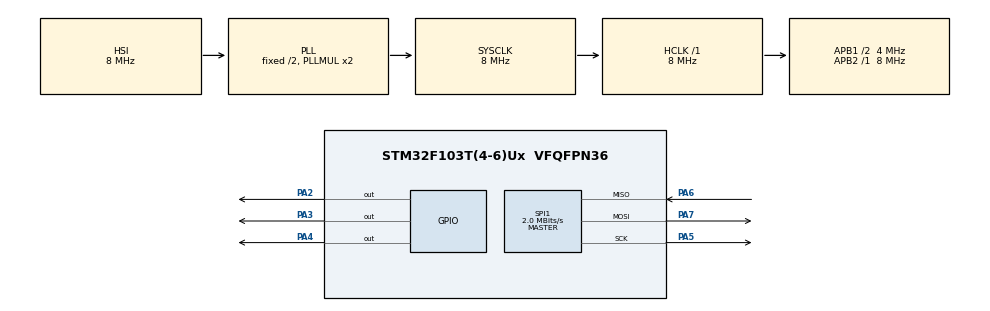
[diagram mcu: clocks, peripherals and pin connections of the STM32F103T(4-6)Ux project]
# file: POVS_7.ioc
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Mcu.Family=STM32F1
Mcu.Name=STM32F103T(4-6)Ux
Mcu.Package=VFQFPN36
NVIC.PriorityGroup=NVIC_PRIORITYGROUP_4
NVIC.SPI1_IRQn=true\:0\:0\:false\:false\:true\:true\:true
PA2.Signal=GPIO_Output
PA3.Signal=GPIO_Output
PA4.Signal=GPIO_Output
PA5.Mode=Full_Duplex_Master
PA5.Signal=SPI1_SCK
PA6.Mode=Full_Duplex_Master
PA6.Signal=SPI1_MISO
PA7.Mode=Full_Duplex_Master
PA7.Signal=SPI1_MOSI
ProjectManager.HeapSize=0x200
ProjectManager.StackSize=0x400
ProjectManager.TargetToolchain=MDK-ARM V5
RCC.AHBFreq_Value=8000000
RCC.APB1CLKDivider=RCC_HCLK_DIV2
RCC.APB1Freq_Value=4000000
RCC.APB1TimFreq_Value=8000000
RCC.APB2Freq_Value=8000000
RCC.APB2TimFreq_Value=8000000
RCC.HCLKFreq_Value=8000000
RCC.SYSCLKFreq_VALUE=8000000
RCC.SYSCLKSource=RCC_SYSCLKSOURCE_PLLCLK
RCC.USBFreq_Value=8000000
SPI1.BaudRatePrescaler=SPI_BAUDRATEPRESCALER_4
SPI1.CalculateBaudRate=2.0 MBits/s
SPI1.Direction=SPI_DIRECTION_2LINES
SPI1.Mode=SPI_MODE_MASTER
SPI1.VirtualType=VM_MASTER
VP_SYS_VS_ND.Mode=No_Debug
board=custom

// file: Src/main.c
/* USER CODE BEGIN Header */
/**
  ******************************************************************************
  * @file           : main.c
  * @brief          : Main program body
  ******************************************************************************
  * @attention
  *
  * <h2><center>&copy; Copyright (c) 2019 STMicroelectronics.
  * All rights reserved.</center></h2>
  *
  * This software component is licensed by ST under BSD 3-Clause license,
  * the "License"; You may not use this file except in compliance with the
  * License. You may obtain a copy of the License at:
  *                        opensource.org/licenses/BSD-3-Clause
  *
  ******************************************************************************
  */
/* USER CODE END Header */

#include "main.h"

/* USER CODE BEGIN Includes */
#include "fonts.h"
#include <string.h>
#include <stdarg.h>
/* USER CODE END Includes */

/* USER CODE BEGIN PTD */
#ifndef __ILI9341_H__
#define __ILI9341_H__

#include "fonts.h"
#include <stdbool.h>

#define ILI9341_MADCTL_MY  0x80
#define ILI9341_MADCTL_MX  0x40
#define ILI9341_MADCTL_MV  0x20
#define ILI9341_MADCTL_ML  0x10
#define ILI9341_MADCTL_RGB 0x00
#define ILI9341_MADCTL_BGR 0x08
#define ILI9341_MADCTL_MH  0x04

/*** Redefine if necessary ***/
#define ILI9341_SPI_PORT hspi1

#define ILI9341_RES_Pin       GPIO_PIN_2
#define ILI9341_RES_GPIO_Port GPIOA
#define ILI9341_CS_Pin        GPIO_PIN_4
#define ILI9341_CS_GPIO_Port  GPIOA
#define ILI9341_DC_Pin        GPIO_PIN_3
#define ILI9341_DC_GPIO_Port  GPIOA

// default orientation
#define ILI9341_WIDTH  240
#define ILI9341_HEIGHT 320
#define ILI9341_ROTATION (ILI9341_MADCTL_MX | ILI9341_MADCTL_BGR)

#define	ILI9341_BLACK   0x0000
#define	ILI9341_BLUE    0x001F
#define	ILI9341_RED     0xF800
#define	ILI9341_GREEN   0x07E0
#define ILI9341_CYAN    0x07FF
#define ILI9341_MAGENTA 0xF81F
#define ILI9341_YELLOW  0xFFE0
#define ILI9341_WHITE   0xFFFF
#define ILI9341_COLOR565(r, g, b) (((r & 0xF8) << 8) | ((g & 0xFC) << 3) | ((b & 0xF8) >> 3))

// call before initializing any SPI devices

void ILI9341_Init(void);
void ILI9341_DrawPixel(uint16_t x, uint16_t y, uint16_t color);
void ILI9341_WriteString(uint16_t x, uint16_t y, const char* str, FontDef font, uint16_t color, uint16_t bgcolor);
void ILI9341_FillRectangle(uint16_t x, uint16_t y, uint16_t w, uint16_t h, uint16_t color);
void ILI9341_FillScreen(uint16_t color);
void ILI9341_DrawImage(uint16_t x, uint16_t y, uint16_t w, uint16_t h, const uint16_t* data);
void ILI9341_InvertColors(bool invert);

#endif // __ILI9341_H__

/* USER CODE END PTD */

SPI_HandleTypeDef hspi1;

void SystemClock_Config(void);
static void MX_GPIO_Init(void);
static void MX_SPI1_Init(void);

/* USER CODE BEGIN 0 */
static void ILI9341_Select() {
    HAL_GPIO_WritePin(ILI9341_CS_GPIO_Port, ILI9341_CS_Pin, GPIO_PIN_RESET);
}

void ILI9341_Unselect() {
    HAL_GPIO_WritePin(ILI9341_CS_GPIO_Port, ILI9341_CS_Pin, GPIO_PIN_SET);
}

static void ILI9341_Reset() {
    HAL_GPIO_WritePin(ILI9341_RES_GPIO_Port, ILI9341_RES_Pin, GPIO_PIN_RESET);
    HAL_Delay(5);
    HAL_GPIO_WritePin(ILI9341_RES_GPIO_Port, ILI9341_RES_Pin, GPIO_PIN_SET);
}

static void ILI9341_WriteCommand(uint8_t cmd) {
    HAL_GPIO_WritePin(ILI9341_DC_GPIO_Port, ILI9341_DC_Pin, GPIO_PIN_RESET);
    HAL_SPI_Transmit(&ILI9341_SPI_PORT, &cmd, sizeof(cmd), HAL_MAX_DELAY);
}

static void ILI9341_WriteData(uint8_t* buff, size_t buff_size) {
    HAL_GPIO_WritePin(ILI9341_DC_GPIO_Port, ILI9341_DC_Pin, GPIO_PIN_SET);

    // split data in small chunks because HAL can't send more then 64K at once
    while(buff_size > 0) {
        uint16_t chunk_size = buff_size > 32768 ? 32768 : buff_size;
        HAL_SPI_Transmit(&ILI9341_SPI_PORT, buff, chunk_size, HAL_MAX_DELAY);
        buff += chunk_size;
        buff_size -= chunk_size;
    }
}

static void ILI9341_SetAddressWindow(uint16_t x0, uint16_t y0, uint16_t x1, uint16_t y1) {
    // column address set
    ILI9341_WriteCommand(0x2A); // CASET
    {
        uint8_t data[] = { (x0 >> 8) & 0xFF, x0 & 0xFF, (x1 >> 8) & 0xFF, x1 & 0xFF };
        ILI9341_WriteData(data, sizeof(data));
    }

    // row address set
    ILI9341_WriteCommand(0x2B); // RASET
    {
        uint8_t data[] = { (y0 >> 8) & 0xFF, y0 & 0xFF, (y1 >> 8) & 0xFF, y1 & 0xFF };
        ILI9341_WriteData(data, sizeof(data));
    }

    // write to RAM
    ILI9341_WriteCommand(0x2C); // RAMWR
}

void ILI9341_Init() {
    ILI9341_Select();
    ILI9341_Reset();

    // command list is based on https://github.com/martnak/STM32-ILI9341

    // SOFTWARE RESET
    ILI9341_WriteCommand(0x01);
    HAL_Delay(1000);

    // POWER CONTROL A
    ILI9341_WriteCommand(0xCB);
    {
        uint8_t data[] = { 0x39, 0x2C, 0x00, 0x34, 0x02 };
        ILI9341_WriteData(data, sizeof(data));
    }

    // POWER CONTROL B
    ILI9341_WriteCommand(0xCF);
    {
        uint8_t data[] = { 0x00, 0xC1, 0x30 };
        ILI9341_WriteData(data, sizeof(data));
    }

    // DRIVER TIMING CONTROL A
    ILI9341_WriteCommand(0xE8);
    {
        uint8_t data[] = { 0x85, 0x00, 0x78 };
        ILI9341_WriteData(data, sizeof(data));
    }

    // DRIVER TIMING CONTROL B
    ILI9341_WriteCommand(0xEA);
    {
        uint8_t data[] = { 0x00, 0x00 };
        ILI9341_WriteData(data, sizeof(data));
    }

    // POWER ON SEQUENCE CONTROL
    ILI9341_WriteCommand(0xED);
    {
        uint8_t data[] = { 0x64, 0x03, 0x12, 0x81 };
        ILI9341_WriteData(data, sizeof(data));
    }

    // PUMP RATIO CONTROL
    ILI9341_WriteCommand(0xF7);
    {
        uint8_t data[] = { 0x20 };
        ILI9341_WriteData(data, sizeof(data));
    }

    // POWER CONTROL,VRH[5:0]
    ILI9341_WriteCommand(0xC0);
    {
        uint8_t data[] = { 0x23 };
        ILI9341_WriteData(data, sizeof(data));
    }

    // POWER CONTROL,SAP[2:0];BT[3:0]
    ILI9341_WriteCommand(0xC1);
    {
        uint8_t data[] = { 0x10 };
        ILI9341_WriteData(data, sizeof(data));
    }

    // VCM CONTROL
    ILI9341_WriteCommand(0xC5);
    {
        uint8_t data[] = { 0x3E, 0x28 };
        ILI9341_WriteData(data, sizeof(data));
    }

    // VCM CONTROL 2
    ILI9341_WriteCommand(0xC7);
    {
        uint8_t data[] = { 0x86 };
        ILI9341_WriteData(data, sizeof(data));
    }

    // MEMORY ACCESS CONTROL
    ILI9341_WriteCommand(0x36);
    {
        uint8_t data[] = { 0x48 };
        ILI9341_WriteData(data, sizeof(data));
    }

    // PIXEL FORMAT
    ILI9341_WriteCommand(0x3A);
    {
        uint8_t data[] = { 0x55 };
        ILI9341_WriteData(data, sizeof(data));
    }

    // FRAME RATIO CONTROL, STANDARD RGB COLOR
    ILI9341_WriteCommand(0xB1);
    {
        uint8_t data[] = { 0x00, 0x18 };
        ILI9341_WriteData(data, sizeof(data));
    }

    // DISPLAY FUNCTION CONTROL
    ILI9341_WriteCommand(0xB6);
    {
        uint8_t data[] = { 0x08, 0x82, 0x27 };
        ILI9341_WriteData(data, sizeof(data));
    }

    // 3GAMMA FUNCTION DISABLE
    ILI9341_WriteCommand(0xF2);
    {
        uint8_t data[] = { 0x00 };
        ILI9341_WriteData(data, sizeof(data));
    }

    // GAMMA CURVE SELECTED
    ILI9341_WriteCommand(0x26);
    {
        uint8_t data[] = { 0x01 };
        ILI9341_WriteData(data, sizeof(data));
    }

    // POSITIVE GAMMA CORRECTION
    ILI9341_WriteCommand(0xE0);
    {
        uint8_t data[] = { 0x0F, 0x31, 0x2B, 0x0C, 0x0E, 0x08, 0x4E, 0xF1,
                           0x37, 0x07, 0x10, 0x03, 0x0E, 0x09, 0x00 };
        ILI9341_WriteData(data, sizeof(data));
    }

    // NEGATIVE GAMMA CORRECTION
    ILI9341_WriteCommand(0xE1);
    {
        uint8_t data[] = { 0x00, 0x0E, 0x14, 0x03, 0x11, 0x07, 0x31, 0xC1,
                           0x48, 0x08, 0x0F, 0x0C, 0x31, 0x36, 0x0F };
        ILI9341_WriteData(data, sizeof(data));
    }

    // EXIT SLEEP
    ILI9341_WriteCommand(0x11);
    HAL_Delay(120);

    // TURN ON DISPLAY
    ILI9341_WriteCommand(0x29);

    // MADCTL
    ILI9341_WriteCommand(0x36);
    {
        uint8_t data[] = { ILI9341_ROTATION };
        ILI9341_WriteData(data, sizeof(data));
    }

    ILI9341_Unselect();
}

void ILI9341_DrawPixel(uint16_t x, uint16_t y, uint16_t color) {
    if((x >= ILI9341_WIDTH) || (y >= ILI9341_HEIGHT))
        return;

    ILI9341_Select();

    ILI9341_SetAddressWindow(x, y, x+1, y+1);
    uint8_t data[] = { color >> 8, color & 0xFF };
    ILI9341_WriteData(data, sizeof(data));

    ILI9341_Unselect();
}

static void ILI9341_WriteChar(uint16_t x, uint16_t y, char ch, FontDef font, uint16_t color, uint16_t bgcolor) {
    uint32_t i, b, j;

    ILI9341_SetAddressWindow(x, y, x+font.width-1, y+font.height-1);

    for(i = 0; i < font.height; i++) {
        b = font.data[(ch - 32) * font.height + i];
        for(j = 0; j < font.width; j++) {
            if((b << j) & 0x8000)  {
                uint8_t data[] = { color >> 8, color & 0xFF };
                ILI9341_WriteData(data, sizeof(data));
            } else {
                uint8_t data[] = { bgcolor >> 8, bgcolor & 0xFF };
                ILI9341_WriteData(data, sizeof(data));
            }
        }
    }
}

void ILI9341_WriteString(uint16_t x, uint16_t y, const char* str, FontDef font, uint16_t color, uint16_t bgcolor) {
    ILI9341_Select();

    while(*str) {
        if(x + font.width >= ILI9341_WIDTH) {
            x = 0;
            y += font.height;
            if(y + font.height >= ILI9341_HEIGHT) {
                break;
            }

            if(*str == ' ') {
                // skip spaces in the beginning of the new line
                str++;
                continue;
            }
        }

        ILI9341_WriteChar(x, y, *str, font, color, bgcolor);
        x += font.width;
        str++;
    }

    ILI9341_Unselect();
}

void ILI9341_FillRectangle(uint16_t x, uint16_t y, uint16_t w, uint16_t h, uint16_t color) {
    // clipping
    if((x >= ILI9341_WIDTH) || (y >= ILI9341_HEIGHT)) return;
    if((x + w - 1) >= ILI9341_WIDTH) w = ILI9341_WIDTH - x;
    if((y + h - 1) >= ILI9341_HEIGHT) h = ILI9341_HEIGHT - y;

    ILI9341_Select();
    ILI9341_SetAddressWindow(x, y, x+w-1, y+h-1);

    uint8_t data[] = { color >> 8, color & 0xFF };
    HAL_GPIO_WritePin(ILI9341_DC_GPIO_Port, ILI9341_DC_Pin, GPIO_PIN_SET);
    for(y = h; y > 0; y--) {
        for(x = w; x > 0; x--) {
            HAL_SPI_Transmit(&ILI9341_SPI_PORT, data, sizeof(data), HAL_MAX_DELAY);
        }
    }

    ILI9341_Unselect();
}

void ILI9341_FillScreen(uint16_t color) {
    ILI9341_FillRectangle(0, 0, ILI9341_WIDTH, ILI9341_HEIGHT, color);
}

void ILI9341_DrawImage(uint16_t x, uint16_t y, uint16_t w, uint16_t h, const uint16_t* data) {
    if((x >= ILI9341_WIDTH) || (y >= ILI9341_HEIGHT)) return;
    if((x + w - 1) >= ILI9341_WIDTH) return;
    if((y + h - 1) >= ILI9341_HEIGHT) return;

    ILI9341_Select();
    ILI9341_SetAddressWindow(x, y, x+w-1, y+h-1);
    ILI9341_WriteData((uint8_t*)data, sizeof(uint16_t)*w*h);
    ILI9341_Unselect();
}

void ILI9341_InvertColors(bool invert) {
    ILI9341_Select();
    ILI9341_WriteCommand(invert ? 0x21 /* INVON */ : 0x20 /* INVOFF */);
    ILI9341_Unselect();
}
/* USER CODE END 0 */

int main(void)
{

  /* MCU Configuration--------------------------------------------------------*/

  /* Reset of all peripherals, Initializes the Flash interface and the Systick. */
  HAL_Init();

  /* Configure the system clock */
  SystemClock_Config();

  /* Initialize all configured peripherals */
  MX_GPIO_Init();
  MX_SPI1_Init();
  /* USER CODE BEGIN 2 */
  ILI9341_Init();
	ILI9341_WriteString(0, 0, "Stankevich Andrey Sergeevich group 651001", Font_16x26, ILI9341_GREEN, ILI9341_BLUE);
  /* USER CODE END 2 */

  /* Infinite loop */
  while (1)
  {

  }
}

void SystemClock_Config(void)
{
  RCC_OscInitTypeDef RCC_OscInitStruct = {0};
  RCC_ClkInitTypeDef RCC_ClkInitStruct = {0};

  /** Initializes the CPU, AHB and APB busses clocks
  */
  RCC_OscInitStruct.OscillatorType = RCC_OSCILLATORTYPE_HSI;
  RCC_OscInitStruct.HSIState = RCC_HSI_ON;
  RCC_OscInitStruct.HSICalibrationValue = RCC_HSICALIBRATION_DEFAULT;
  RCC_OscInitStruct.PLL.PLLState = RCC_PLL_ON;
  RCC_OscInitStruct.PLL.PLLSource = RCC_PLLSOURCE_HSI_DIV2;
  RCC_OscInitStruct.PLL.PLLMUL = RCC_PLL_MUL2;
  if (HAL_RCC_OscConfig(&RCC_OscInitStruct) != HAL_OK)
  {
    Error_Handler();
  }
  /** Initializes the CPU, AHB and APB busses clocks
  */
  RCC_ClkInitStruct.ClockType = RCC_CLOCKTYPE_HCLK|RCC_CLOCKTYPE_SYSCLK
                              |RCC_CLOCKTYPE_PCLK1|RCC_CLOCKTYPE_PCLK2;
  RCC_ClkInitStruct.SYSCLKSource = RCC_SYSCLKSOURCE_PLLCLK;
  RCC_ClkInitStruct.AHBCLKDivider = RCC_SYSCLK_DIV1;
  RCC_ClkInitStruct.APB1CLKDivider = RCC_HCLK_DIV2;
  RCC_ClkInitStruct.APB2CLKDivider = RCC_HCLK_DIV1;

  if (HAL_RCC_ClockConfig(&RCC_ClkInitStruct, FLASH_LATENCY_0) != HAL_OK)
  {
    Error_Handler();
  }
}

static void MX_SPI1_Init(void)
{

  /* SPI1 parameter configuration*/
  hspi1.Instance = SPI1;
  hspi1.Init.Mode = SPI_MODE_MASTER;
  hspi1.Init.Direction = SPI_DIRECTION_2LINES;
  hspi1.Init.DataSize = SPI_DATASIZE_8BIT;
  hspi1.Init.CLKPolarity = SPI_POLARITY_LOW;
  hspi1.Init.CLKPhase = SPI_PHASE_1EDGE;
  hspi1.Init.NSS = SPI_NSS_SOFT;
  hspi1.Init.BaudRatePrescaler = SPI_BAUDRATEPRESCALER_4;
  hspi1.Init.FirstBit = SPI_FIRSTBIT_MSB;
  hspi1.Init.TIMode = SPI_TIMODE_DISABLE;
  hspi1.Init.CRCCalculation = SPI_CRCCALCULATION_DISABLE;
  hspi1.Init.CRCPolynomial = 10;
  if (HAL_SPI_Init(&hspi1) != HAL_OK)
  {
    Error_Handler();
  }

}

static void MX_GPIO_Init(void)
{
  GPIO_InitTypeDef GPIO_InitStruct = {0};

  /* GPIO Ports Clock Enable */
  __HAL_RCC_GPIOA_CLK_ENABLE();

  /*Configure GPIO pin Output Level */
  HAL_GPIO_WritePin(GPIOA, GPIO_PIN_2|GPIO_PIN_3|GPIO_PIN_4, GPIO_PIN_RESET);

  /*Configure GPIO pins : PA2 PA3 PA4 */
  GPIO_InitStruct.Pin = GPIO_PIN_2|GPIO_PIN_3|GPIO_PIN_4;
  GPIO_InitStruct.Mode = GPIO_MODE_OUTPUT_PP;
  GPIO_InitStruct.Pull = GPIO_NOPULL;
  GPIO_InitStruct.Speed = GPIO_SPEED_FREQ_LOW;
  HAL_GPIO_Init(GPIOA, &GPIO_InitStruct);

}

void Error_Handler(void)
{
}

/************************ (C) COPYRIGHT STMicroelectronics *****END OF FILE****/
